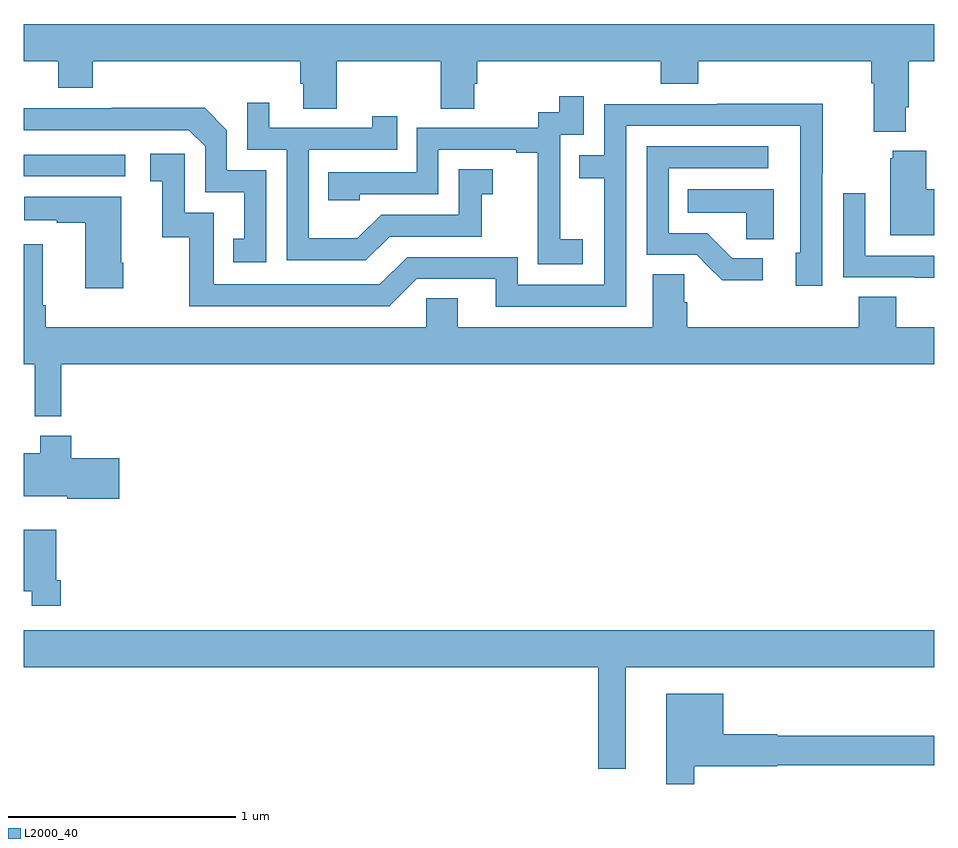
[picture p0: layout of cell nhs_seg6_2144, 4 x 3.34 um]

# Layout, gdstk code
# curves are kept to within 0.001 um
import gdstk
lib = gdstk.Library(unit=1e-6, precision=1e-09)
def R(c, l, rs):  # rectangles x0, y0, x1, y1
    for r in rs: c.add(gdstk.rectangle(r[:2], r[2:], *l))
def P(c, l, *ps):  # polygons
    for p in ps: c.add(gdstk.Polygon(p, *l))
L2000_40 = (2000, 40)

nhs_seg6_2144 = lib.new_cell('nhs_seg6_2144')
R(nhs_seg6_2144, L2000_40, [(239,940.17,239.446,940.266)])
P(nhs_seg6_2144, L2000_40, [(242.875,940.474),(242.888,940.474),(242.888,940.676),(243,940.676),(243,940.84),(239,940.84),(239,940.676),(239.15,940.676),(239.15,940.559),(239.303,940.559),(239.303,940.676),(240.215,940.676),(240.215,940.578),(240.227,940.578),(240.227,940.468),(240.375,940.468),(240.375,940.676),(240.832,940.676),(240.832,940.468),(240.979,940.468),(240.979,940.578),(240.992,940.578),(240.992,940.676),(241.799,940.676),(241.799,940.577),(241.964,940.577),(241.964,940.676),(242.723,940.676),(242.723,940.58),(242.735,940.58),(242.735,940.367),(242.875,940.367)],
  [(241.456,939.895),(241.358,939.895),(241.358,940.124),(241.356,940.124),(241.356,940.353),(241.461,940.353),(241.461,940.522),(241.353,940.522),(241.353,940.452),(241.26,940.452),(241.26,940.383),(240.726,940.383),(240.726,940.188),(240.337,940.188),(240.337,940.065),(240.477,940.065),(240.477,940.092),(240.822,940.092),(240.822,940.287),(241.163,940.287),(241.163,940.275),(241.259,940.275),(241.259,939.991),(241.258,939.991),(241.258,939.785),(241.456,939.785)],
  [(240.607,939.906),(241.011,939.906),(241.011,940.091),(241.06,940.091),(241.06,940.201),(240.912,940.201),(240.912,940.002),(240.57,940.002),(240.466,939.898),(240.252,939.898),(240.252,940.287),(240.641,940.287),(240.641,940.435),(240.53,940.435),(240.53,940.383),(240.079,940.383),(240.079,940.495),(239.982,940.495),(239.982,940.287),(240.156,940.287),(240.156,939.801),(240.502,939.801)],
  [(241.647,940.392),(242.412,940.392),(242.412,939.834),(242.393,939.834),(242.393,939.69),(242.508,939.69),(242.508,940.183),(242.511,940.183),(242.511,940.49),(242.047,940.49),(242.047,940.488),(241.551,940.488),(241.551,940.263),(241.441,940.263),(241.441,940.162),(241.551,940.162),(241.551,939.693),(241.17,939.693),(241.17,939.816),(240.684,939.816),(240.564,939.696),(239.835,939.696),(239.835,940.011),(239.706,940.011),(239.706,940.27),(239.556,940.27),(239.556,940.149),(239.609,940.149),(239.609,939.903),(239.727,939.903),(239.727,939.6),(240.606,939.6),(240.726,939.72),(241.073,939.72),(241.073,939.597),(241.647,939.597)],
  [(240.066,940.197),(239.892,940.197),(239.892,940.374),(239.794,940.472),(239.386,940.472),(239.386,940.47),(239,940.47),(239,940.374),(239.724,940.374),(239.796,940.302),(239.796,940.101),(239.969,940.101),(239.969,939.897),(239.92,939.897),(239.92,939.792),(240.066,939.792)],
  [(242.248,939.81),(242.113,939.81),(242.002,939.921),(241.833,939.921),(241.833,940.206),(242.272,940.206),(242.272,940.302),(241.737,940.302),(241.737,939.825),(241.956,939.825),(242.069,939.713),(242.248,939.713)],
  [(243,940.114),(242.965,940.114),(242.965,940.282),(242.819,940.282),(242.819,940.251),(242.807,940.251),(242.807,939.911),(243,939.911)],
  [(242.296,940.114),(241.918,940.114),(241.918,940.01),(242.175,940.01),(242.175,939.895),(242.296,939.895)],
  [(243,939.822),(242.697,939.822),(242.697,940.096),(242.601,940.096),(242.601,939.726),(242.917,939.726),(242.917,939.725),(243,939.725)],
  [(239.436,939.79),(239.428,939.79),(239.428,940.081),(239.001,940.081),(239.001,939.977),(239.144,939.977),(239.144,939.967),(239.27,939.967),(239.27,939.678),(239.436,939.678)],
  [(239,939.871),(239,939.344),(239.048,939.344),(239.048,939.116),(239.165,939.116),(239.165,939.344),(243,939.344),(243,939.508),(242.834,939.508),(242.834,939.641),(242.669,939.641),(242.669,939.508),(241.916,939.508),(241.916,939.617),(241.902,939.617),(241.902,939.74),(241.763,939.74),(241.763,939.508),(240.907,939.508),(240.907,939.635),(240.768,939.635),(240.768,939.508),(239.096,939.508),(239.096,939.604),(239.083,939.604),(239.083,939.871)],
  [(239.419,938.931),(239.207,938.931),(239.207,939.031),(239.072,939.031),(239.072,938.953),(239,938.953),(239,938.765),(239.19,938.765),(239.19,938.753),(239.419,938.753)],
  [(239.162,938.395),(239.142,938.395),(239.142,938.617),(239,938.617),(239,938.348),(239.034,938.348),(239.034,938.283),(239.162,938.283)],
  [(241.645,938.012),(243,938.012),(243,938.176),(239,938.176),(239,938.012),(241.524,938.012),(241.524,937.568),(241.645,937.568)],
  [(241.945,937.577),(242.31,937.577),(242.31,937.582),(243,937.582),(243,937.711),(242.31,937.711),(242.31,937.719),(242.074,937.719),(242.074,937.897),(241.823,937.897),(241.823,937.5),(241.945,937.5)])

lib.write_gds('nhs_seg6_2144.gds')
